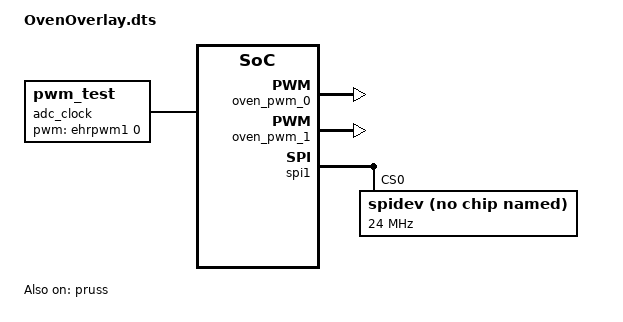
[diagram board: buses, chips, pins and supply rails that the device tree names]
/dts-v1/;
/plugin/;

/ {
    compatible = "ti,beaglebone", "ti,beaglebone-black";

    part-number = "OvenOverlay";
    version = "00A0";
 
    exclusive-use =
        "pru0", "pru1",
        "P9.14", "ehrpwm1A", // ADC clock
        "P9.28", "P9.29", "P9.30", "P9.31", "spi1", // SPI
        "P9.26", "P9.27", // ADC reset and drdy pins
        "P9.22", "ehrpwm0A", // Oven 0 pwm
        "P8.45", "ehrpwm2A"; // Oven 1 pwm
        
    fragment@0 {
        target = <&am33xx_pinmux>;
        __overlay__ {
            pru_pins: pinmux_pru_pins {   
                pinctrl-single,pins = <0x1AC 0x26>;  // P9_25, mode6 input
            };
            adc_clock_pins: pinmux_adc_clock_pins {
                pinctrl-single,pins = <0x048 0xe>; // P9_14, PWM-1A
            };
            spi_pins: pinmux_spi_pins {
                pinctrl-single,pins = <
                    0x190 0x33      /* P9.31 mcasp0_aclkx.spi1_sclk, INPUT_PULLUP | MODE3 */
                    0x194 0x13      /* P9.29 mcasp0_fsx.spi1_d0, OUTPUT_PULLUP | MODE3 */
                    0x198 0x33      /* P9.30 mcasp0_axr0.spi1_d1, INPUT_PULLUP | MODE3 */
                    0x19c 0x13      /* P9.28 mcasp0_ahclkr.spi1_cs0, OUTPUT_PULLUP | MODE3 */
                    >;
            };
            adc_ctrl_pins: pinmux_adc_ctrl_pins {
                pinctrl-single,pins = <
                    0x180 0x07 // P9_26, gpio output
                    0x0E0 0x36 // P9_27, pru input pull-up
                    >;
            };
            oven_pwm_0_pins: pinmux_oven_pwm_0_pins {
                pinctrl-single,pins = <0x150 0x03>; // P9.22, PWM-0A
            };
            oven_pwm_1_pins: pinmux_oven_pwm_1_pins {
                pinctrl-single,pins = <0x0A0 0x03>; // P8.45, PWM-2A
            };
        };
    };

    fragment@1 {         // Enable the PRUSS
        target = <&pruss>;
        __overlay__ {
            status = "okay";
            pinctrl-names = "default";
            pinctrl-0 = <&pru_pins>;
        };
    };


    fragment@2 {
        target = <&ocp>;
        __overlay__ {
            adc_clock {
                compatible  = "pwm_test";
                pwms        = <&ehrpwm1 0 125 0>;
                pwm-names   = "PWM_P9_14";

                pinctrl-names   = "default";
                pinctrl-0   = <&adc_clock_pins>;

                enabled     = <1>;
                period      = <125>;
                duty        = <62>;
                status      = "okay";
            };
        };
    };    
    fragment@3 {
        target = <&spi1>;
        __overlay__ {

             #address-cells = <1>;
             #size-cells = <0>;
             status = "okay";
             pinctrl-names = "default";
             pinctrl-0 = <&spi_pins>;
             ti,pindir-d0-out-d1-in = <1>;
             spidev@1 {
                 spi-max-frequency = <24000000>;
                 reg = <0>;
                 compatible = "linux,spidev";
            };
        };
    };
    fragment@4 {
        target = <&ocp>;
        __overlay__ {
            oven_pwm_0 {
                compatible  = "pwm_test";
                pwms        = <&ehrpwm0 0 1000 0>;
                pwm-names   = "PWM_P9_22";

                pinctrl-names   = "default";
                pinctrl-0   = <&oven_pwm_0_pins>;

                enabled     = <1>;
                period      = <1000>;
                duty        = <0>;
                status      = "okay";
            };
        };
    };    
    fragment@5 {
        target = <&ocp>;
        __overlay__ {
            oven_pwm_1 {
                compatible  = "pwm_test";
                pwms        = <&ehrpwm2 0 1000 0>;
                pwm-names   = "PWM_P8_45";

                pinctrl-names   = "default";
                pinctrl-0   = <&oven_pwm_1_pins>;

                enabled     = <1>;
                period      = <1000>;
                duty        = <0>;
                status      = "okay";
            };
        };
    }; 
};
